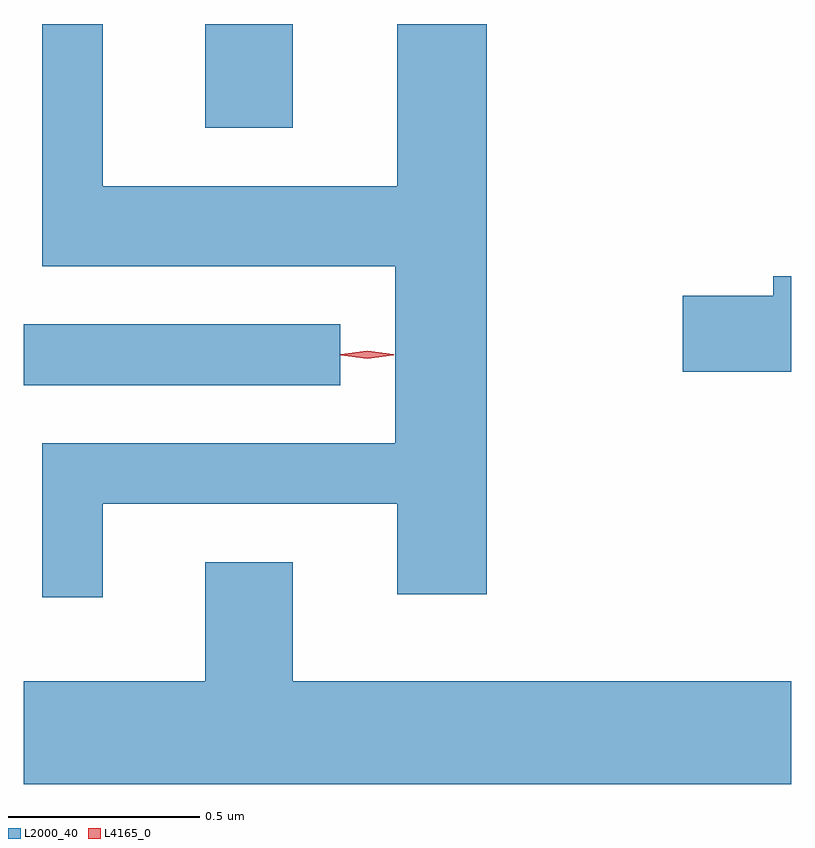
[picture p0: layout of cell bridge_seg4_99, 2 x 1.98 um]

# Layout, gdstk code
import gdstk
lib = gdstk.Library(unit=1e-6, precision=1e-09)
def R(c, l, rs):  # rectangles x0, y0, x1, y1
    for r in rs: c.add(gdstk.rectangle(r[:2], r[2:], *l))
def P(c, l, *ps):  # polygons
    for p in ps: c.add(gdstk.Polygon(p, *l))
L2000_40 = (2000, 40)
L4165_0 = (4165, 0)

bridge_seg4_99 = lib.new_cell('bridge_seg4_99')
R(bridge_seg4_99, L2000_40, [(970.568,1366.816,971.393,1366.974), (971.041,1367.486,971.269,1367.757)])
P(bridge_seg4_99, L2000_40, [(970.774,1366.506),(971.541,1366.506),(971.541,1366.271),(971.774,1366.271),(971.774,1367.757),(971.541,1367.757),(971.541,1367.334),(970.774,1367.334),(970.774,1367.757),(970.616,1367.757),(970.616,1367.126),(971.536,1367.126),(971.536,1366.664),(970.616,1366.664),(970.616,1366.263),(970.774,1366.263)],
  [(972.568,1367.099),(972.521,1367.099),(972.521,1367.049),(972.286,1367.049),(972.286,1366.851),(972.568,1366.851)],
  [(972.568,1366.044),(971.269,1366.044),(971.269,1366.354),(971.041,1366.354),(971.041,1366.044),(970.568,1366.044),(970.568,1365.776),(972.568,1365.776)])
P(bridge_seg4_99, L4165_0, [(971.463,1366.885),(971.394,1366.894),(971.393,1366.895),(971.394,1366.896),(971.463,1366.905),(971.532,1366.896),(971.532,1366.895),(971.532,1366.894)],
  [(971.463,1366.885),(971.397,1366.894),(971.397,1366.895),(971.397,1366.896),(971.463,1366.905),(971.529,1366.896),(971.529,1366.895),(971.529,1366.894)])

lib.write_gds('bridge_seg4_99.gds')
